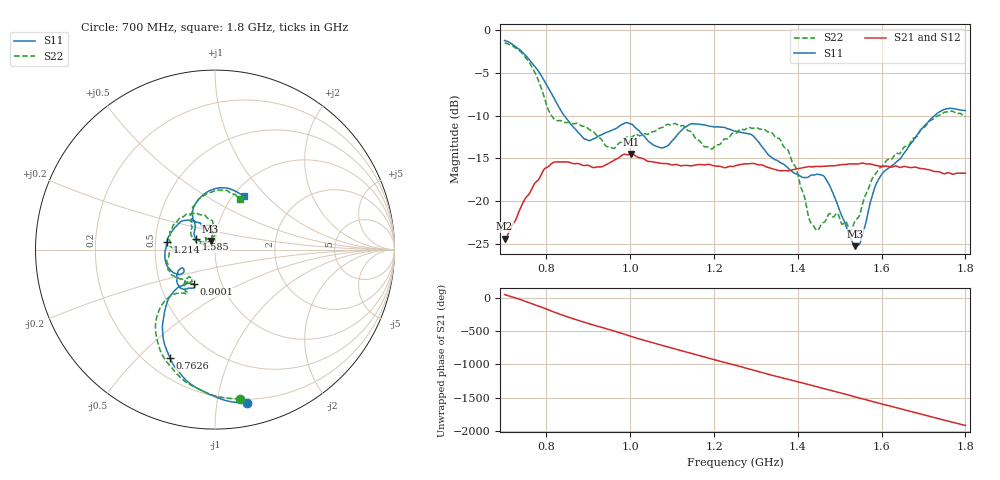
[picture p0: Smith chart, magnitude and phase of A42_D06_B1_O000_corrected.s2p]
! Created with skrf 1.9.0 (http://scikit-rf.org).
# Hz S RI R 50.0
!freq ReS11 ImS11 ReS21 ImS21 ReS12 ImS12 ReS22 ImS22
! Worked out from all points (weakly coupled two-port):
!   1601 points, 700 MHz to 1.8 GHz, reference 50 ohm
!   highest |S21| = -14.47 dB at 1.002 GHz (marker M1); lowest = -24.4 dB at 700 MHz (marker M2)
!   lowest |S11| = -25.3 dB at 1.537 GHz (marker M3), VSWR 1.12, Z = 47.4 + j4.6 ohm
!   |S11| at or under -10 dB: 842.3 MHz to 1.726 GHz (883.9 MHz wide, 68.8 % of centre)
!   |S22| runs from -23.5 to -1.5 dB; largest |S21 - S12| = 0.0035
!   S11 on the Smith chart (normalised r, x): 700 MHz: 0.17, -1.21; 762.6 MHz: 0.30, -0.63; 900.1 MHz: 0.74, -0.30; 1.214 GHz: 0.58, +0.05; 1.585 GHz: 0.80, +0.10; 1.8 GHz: 1.12, +0.75
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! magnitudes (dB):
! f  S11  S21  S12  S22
! 700 MHz  -1.2  -24.4  -24.2  -1.5
! 762.6 MHz  -3.7  -18.8  -18.8  -4.1
! 816.2 MHz  -7.8  -15.5  -15.6  -10.3
! 883.6 MHz  -12.4  -15.8  -15.6  -11.2
! 900.1 MHz  -12.9  -15.8  -15.8  -11.6
! 957.8 MHz  -11.7  -15.3  -15.3  -13.8
! 1.002 GHz  -11.0  -14.5  -14.6  -12.5
! 1.067 GHz  -13.7  -15.5  -15.5  -11.5
! 1.143 GHz  -11.0  -15.9  -15.9  -11.8
! 1.179 GHz  -11.1  -15.8  -15.7  -13.7
! 1.214 GHz  -11.3  -15.9  -15.9  -13.3
! 1.25 GHz  -11.8  -15.9  -15.8  -12.1
! 1.357 GHz  -15.5  -16.5  -16.4  -12.8
! 1.395 GHz  -16.8  -16.3  -16.3  -16.0
! 1.434 GHz  -16.9  -16.0  -16.0  -22.7
! 1.468 GHz  -17.5  -15.9  -15.9  -22.1
! 1.537 GHz  -25.3  -15.7  -15.7  -22.3
! 1.551 GHz  -24.5  -15.6  -15.6  -21.0
! 1.585 GHz  -18.3  -15.8  -15.8  -16.9
! 1.617 GHz  -16.1  -16.0  -15.9  -15.1
! 1.733 GHz  -9.7  -16.5  -16.6  -10.0
! 1.8 GHz  -9.4  -16.7  -16.7  -10.1
